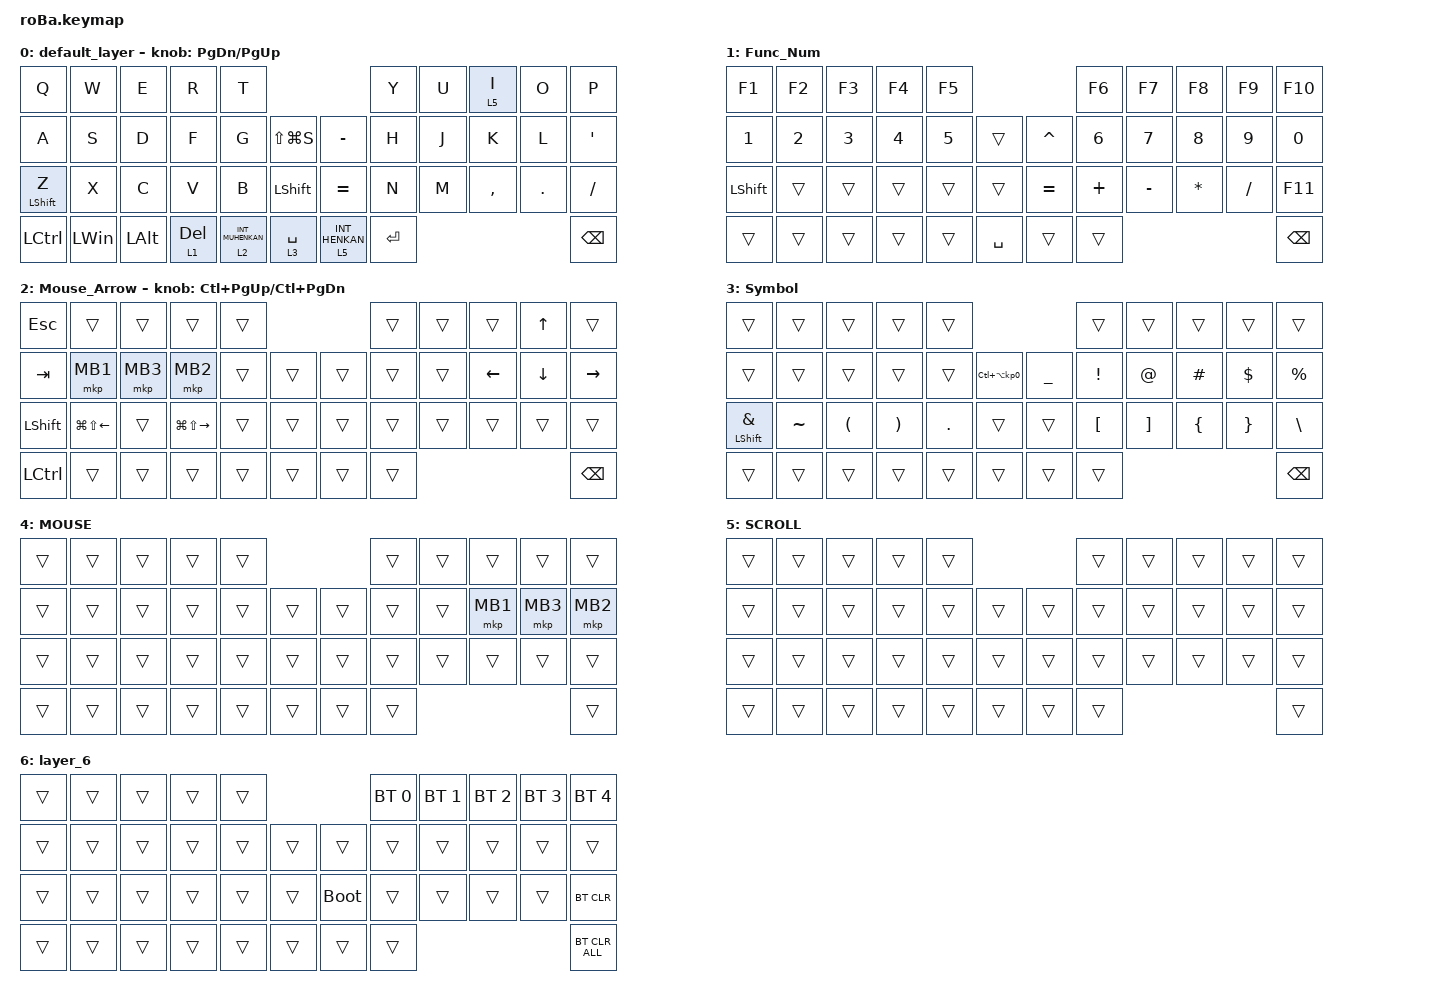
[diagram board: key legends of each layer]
#include <behaviors.dtsi>
#include <dt-bindings/zmk/bt.h>
#include <dt-bindings/zmk/keys.h>
#include <dt-bindings/zmk/pointing.h>

&mt {
    flavor = "balanced";
    quick-tap-ms = <0>;
};

&trackball {
    automouse-layer = <4>;
    scroll-layers = <5>;

    // arrows {
    //     layers = <3>;
    //     bindings =
    //         <&kp RIGHT_ARROW>,
    //         <&kp LEFT_ARROW>,
    //         <&kp UP_ARROW>,
    //         <&kp DOWN_ARROW>;
    //     tick = <10>;
    //     wait-ms = <5>;
    //     tap-ms = <5>;
    // };
};

/ {
    combos {
        compatible = "zmk,combos";

        tab {
            bindings = <&kp ESCAPE>;
            key-positions = <1 0>;
            layers = <0>;
        };

        esc {
            bindings = <&kp TAB>;
            key-positions = <10 11>;
        };

        double_quotation {
            bindings = <&kp DOUBLE_QUOTES>;
            key-positions = <20 21>;
        };

        eq {
            bindings = <&kp EQUAL>;
            key-positions = <24 25>;
        };

        layer_6 {
            bindings = <&lt 6 ENTER>;
            key-positions = <41 40>;
            layers = <0>;
        };
    };

    macros {
        to_layer_0: to_layer_0 {
            compatible = "zmk,behavior-macro-one-param";
            #binding-cells = <1>;
            bindings = <&to 0 &macro_param_1to1 &kp MACRO_PLACEHOLDER>;
            label = "TO_LAYER_0";
        };
    };

    behaviors {
        lt_to_layer_0: lt_to_layer_0 {
            compatible = "zmk,behavior-hold-tap";
            label = "LAYER_TAP_TO_0";
            bindings = <&mo>, <&to_layer_0>;

            #binding-cells = <2>;
            tapping-term-ms = <200>;
        };
    };

    keymap {
        compatible = "zmk,keymap";

        default_layer {
            bindings = <
&kp Q             &kp W         &kp E         &kp R         &kp T                                                     &kp Y      &kp U  &lt 5 I    &kp O    &kp P
&kp A             &kp S         &kp D         &kp F         &kp G               &kp LS(LG(S))       &kp MINUS         &kp H      &kp J  &kp K      &kp L    &kp SQT
&mt LEFT_SHIFT Z  &kp X         &kp C         &kp V         &kp B               &kp LEFT_SHIFT      &kp EQUAL         &kp N      &kp M  &kp COMMA  &kp DOT  &kp SLASH
&kp LCTRL         &kp LEFT_WIN  &kp LEFT_ALT  &lt 1 DELETE  &lt 2 INT_MUHENKAN  &lt 3 SPACE         &lt 5 INT_HENKAN  &kp ENTER                             &kp BACKSPACE
            >;

            sensor-bindings = <&inc_dec_kp PAGE_DOWN PAGE_UP>;
        };

        Func_Num {
            bindings = <
&kp F1          &kp F2        &kp F3        &kp F4        &kp F5                                  &kp F6        &kp F7        &kp F8        &kp F9        &kp F10
&kp NUMBER_1    &kp NUMBER_2  &kp NUMBER_3  &kp NUMBER_4  &kp NUMBER_5  &trans         &kp CARET  &kp NUMBER_6  &kp NUMBER_7  &kp NUMBER_8  &kp NUMBER_9  &kp NUMBER_0
&kp LEFT_SHIFT  &trans        &trans        &trans        &trans        &trans         &kp EQUAL  &kp PLUS      &kp MINUS     &kp STAR      &kp SLASH     &kp F11
&trans          &trans        &trans        &trans        &trans        &kp SPACE      &trans     &trans                                                  &kp BACKSPACE
            >;
        };

        Mouse_Arrow {
            bindings = <
&kp ESCAPE      &trans                  &trans    &trans                   &trans                      &trans  &trans  &trans          &kp UP_ARROW    &trans
&kp TAB         &mkp MB1                &mkp MB3  &mkp MB2                 &trans  &trans      &trans  &trans  &trans  &kp LEFT_ARROW  &kp DOWN_ARROW  &kp RIGHT_ARROW
&kp LEFT_SHIFT  &kp LG(LS(LEFT_ARROW))  &trans    &kp LG(LS(RIGHT_ARROW))  &trans  &trans      &trans  &trans  &trans  &trans          &trans          &trans
&kp LCTRL       &trans                  &trans    &trans                   &trans  &trans      &trans  &trans                                          &kp BACKSPACE
            >;

            sensor-bindings = <&inc_dec_kp LC(PAGE_UP) LC(PAGE_DOWN)>;
        };

        Symbol {
            bindings = <
&trans                    &trans     &trans                &trans                 &trans                                                   &trans            &trans             &trans          &trans           &trans
&trans                    &trans     &trans                &trans                 &trans      &kp LC(LA(KP_NUMBER_0))      &kp UNDERSCORE  &kp EXCLAMATION   &kp AT_SIGN        &kp HASH        &kp DOLLAR       &kp PERCENT
&mt LEFT_SHIFT AMPERSAND  &kp TILDE  &kp LEFT_PARENTHESIS  &kp RIGHT_PARENTHESIS  &kp PERIOD  &trans                       &trans          &kp LEFT_BRACKET  &kp RIGHT_BRACKET  &kp LEFT_BRACE  &kp RIGHT_BRACE  &kp BACKSLASH
&trans                    &trans     &trans                &trans                 &trans      &trans                       &trans          &trans                                                                &kp BACKSPACE
            >;
        };

        MOUSE {
            bindings = <
&trans  &trans  &trans  &trans  &trans                      &trans  &trans  &trans    &trans    &trans
&trans  &trans  &trans  &trans  &trans  &trans      &trans  &trans  &trans  &mkp MB1  &mkp MB3  &mkp MB2
&trans  &trans  &trans  &trans  &trans  &trans      &trans  &trans  &trans  &trans    &trans    &trans
&trans  &trans  &trans  &trans  &trans  &trans      &trans  &trans                              &trans
            >;
        };

        SCROLL {
            bindings = <
&trans  &trans  &trans  &trans  &trans                      &trans  &trans  &trans  &trans  &trans
&trans  &trans  &trans  &trans  &trans  &trans      &trans  &trans  &trans  &trans  &trans  &trans
&trans  &trans  &trans  &trans  &trans  &trans      &trans  &trans  &trans  &trans  &trans  &trans
&trans  &trans  &trans  &trans  &trans  &trans      &trans  &trans                          &trans
            >;
        };

        layer_6 {
            bindings = <
&trans  &trans  &trans  &trans  &trans                           &bt BT_SEL 0  &bt BT_SEL 1  &bt BT_SEL 2  &bt BT_SEL 3  &bt BT_SEL 4
&trans  &trans  &trans  &trans  &trans  &trans      &trans       &trans        &trans        &trans        &trans        &trans
&trans  &trans  &trans  &trans  &trans  &trans      &bootloader  &trans        &trans        &trans        &trans        &bt BT_CLR
&trans  &trans  &trans  &trans  &trans  &trans      &trans       &trans                                                  &bt BT_CLR_ALL
            >;
        };
    };
};
